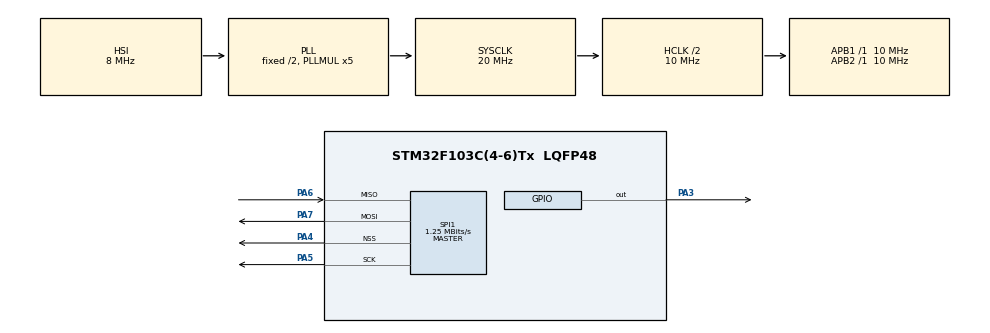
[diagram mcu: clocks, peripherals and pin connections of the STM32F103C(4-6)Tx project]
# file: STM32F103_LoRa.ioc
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Mcu.Family=STM32F1
Mcu.Name=STM32F103C(4-6)Tx
Mcu.Package=LQFP48
NVIC.PriorityGroup=NVIC_PRIORITYGROUP_4
PA3.Signal=GPIO_Output
PA4.Mode=NSS_Signal_Hard_Output
PA4.Signal=SPI1_NSS
PA5.Mode=Full_Duplex_Master
PA5.Signal=SPI1_SCK
PA6.Mode=Full_Duplex_Master
PA6.Signal=SPI1_MISO
PA7.Mode=Full_Duplex_Master
PA7.Signal=SPI1_MOSI
ProjectManager.HeapSize=0x200
ProjectManager.StackSize=0x400
ProjectManager.TargetToolchain=Makefile
RCC.AHBCLKDivider=RCC_SYSCLK_DIV2
RCC.AHBFreq_Value=10000000
RCC.APB1Freq_Value=10000000
RCC.APB1TimFreq_Value=10000000
RCC.APB2Freq_Value=10000000
RCC.APB2TimFreq_Value=10000000
RCC.HCLKFreq_Value=10000000
RCC.PLLMUL=RCC_PLL_MUL5
RCC.SYSCLKFreq_VALUE=20000000
RCC.SYSCLKSource=RCC_SYSCLKSOURCE_PLLCLK
RCC.USBFreq_Value=20000000
SPI1.BaudRatePrescaler=SPI_BAUDRATEPRESCALER_8
SPI1.CLKPolarity=SPI_POLARITY_LOW
SPI1.CalculateBaudRate=1.25 MBits/s
SPI1.Direction=SPI_DIRECTION_2LINES
SPI1.Mode=SPI_MODE_MASTER
SPI1.VirtualNSS=VM_NSSHARD
SPI1.VirtualType=VM_MASTER
VP_SYS_VS_ND.Mode=No_Debug
VP_TIM2_VS_ClockSourceINT.Mode=Internal
board=custom

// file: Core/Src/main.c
/* USER CODE BEGIN Header */
/**
  ******************************************************************************
  * @file           : main.c
  * @brief          : Main program body
  ******************************************************************************
  * @attention
  *
  * Copyright (c) 2023 STMicroelectronics.
  * All rights reserved.
  *
  * This software is licensed under terms that can be found in the LICENSE file
  * in the root directory of this software component.
  * If no LICENSE file comes with this software, it is provided AS-IS.
  *
  ******************************************************************************
  */
/* USER CODE END Header */
#include "main.h"
/* USER CODE BEGIN Includes */
#include "sx127x.h"
#include <stdint.h>
/* USER CODE END Includes */

/* USER CODE BEGIN PTD */
    // Распиновка
    /*
      PA3 --> NSS
      PA5 --> SCK
      PA6 --> MISO
      PA7 --> MOSI
    */
/* USER CODE END PTD */

SPI_HandleTypeDef hspi1;

TIM_HandleTypeDef htim2;

/* USER CODE BEGIN PV */
sx127x_cfg modem;
/* USER CODE END PV */

void SystemClock_Config(void);
static void MX_GPIO_Init(void);
static void MX_SPI1_Init(void);
static void MX_TIM2_Init(void);
void LoRa_Init(void);

int main(void)
{
    /* MCU Configuration--------------------------------------------------------*/
    /* Reset of all peripherals, Initializes the Flash interface and the Systick. */
    HAL_Init();
    /* Configure the system clock */
    SystemClock_Config();
    /* Initialize all configured peripherals */
    MX_GPIO_Init();
    MX_SPI1_Init();
    MX_TIM2_Init();
    HAL_GPIO_WritePin(GPIOA, GPIO_PIN_3, GPIO_PIN_SET);
    LoRa_Init();
    /* USER CODE BEGIN 2 *
    /* USER CODE END 2 */
    /* Infinite loop */
    /* USER CODE BEGIN WHILE */
    uint8_t data[2] = {0x13, 0x34};
    uint8_t receive_data[2];

    // init sx127x
    if (!sx127x_Init(&hspi1, &modem)){
        while(1);
        // logMessage --> SX127X не подключен
    }
    // logMessage --> SX127X подключен
    uint8_t status_TX = 0;
    while(1){
      /* USER CODE END WHILE */
      sx127x_Receive(&hspi1, &modem, receive_data, 2);
    //   HAL_Delay(5000);
    }
}

void SystemClock_Config(void)
{
  RCC_OscInitTypeDef RCC_OscInitStruct = {0};
  RCC_ClkInitTypeDef RCC_ClkInitStruct = {0};

  /** Initializes the RCC Oscillators according to the specified parameters
  * in the RCC_OscInitTypeDef structure.
  */
  RCC_OscInitStruct.OscillatorType = RCC_OSCILLATORTYPE_HSI;
  RCC_OscInitStruct.HSIState = RCC_HSI_ON;
  RCC_OscInitStruct.HSICalibrationValue = RCC_HSICALIBRATION_DEFAULT;
  RCC_OscInitStruct.PLL.PLLState = RCC_PLL_ON;
  RCC_OscInitStruct.PLL.PLLSource = RCC_PLLSOURCE_HSI_DIV2;
  RCC_OscInitStruct.PLL.PLLMUL = RCC_PLL_MUL5;
  if (HAL_RCC_OscConfig(&RCC_OscInitStruct) != HAL_OK)
  {
    Error_Handler();
  }

  /** Initializes the CPU, AHB and APB buses clocks
  */
  RCC_ClkInitStruct.ClockType = RCC_CLOCKTYPE_HCLK|RCC_CLOCKTYPE_SYSCLK
                              |RCC_CLOCKTYPE_PCLK1|RCC_CLOCKTYPE_PCLK2;
  RCC_ClkInitStruct.SYSCLKSource = RCC_SYSCLKSOURCE_PLLCLK;
  RCC_ClkInitStruct.AHBCLKDivider = RCC_SYSCLK_DIV2;
  RCC_ClkInitStruct.APB1CLKDivider = RCC_HCLK_DIV1;
  RCC_ClkInitStruct.APB2CLKDivider = RCC_HCLK_DIV1;

  if (HAL_RCC_ClockConfig(&RCC_ClkInitStruct, FLASH_LATENCY_0) != HAL_OK)
  {
    Error_Handler();
  }
}

static void MX_SPI1_Init(void)
{

  /* SPI1 parameter configuration*/
  hspi1.Instance = SPI1;
  hspi1.Init.Mode = SPI_MODE_MASTER;
  hspi1.Init.Direction = SPI_DIRECTION_2LINES;
  hspi1.Init.DataSize = SPI_DATASIZE_8BIT;
  hspi1.Init.CLKPolarity = SPI_POLARITY_LOW;
  hspi1.Init.CLKPhase = SPI_PHASE_1EDGE;
  hspi1.Init.NSS = SPI_NSS_HARD_OUTPUT;
  hspi1.Init.BaudRatePrescaler = SPI_BAUDRATEPRESCALER_8;
  hspi1.Init.FirstBit = SPI_FIRSTBIT_MSB;
  hspi1.Init.TIMode = SPI_TIMODE_DISABLE;
  hspi1.Init.CRCCalculation = SPI_CRCCALCULATION_DISABLE;
  hspi1.Init.CRCPolynomial = 10;
  if (HAL_SPI_Init(&hspi1) != HAL_OK)
  {
    Error_Handler();
  }

}

static void MX_TIM2_Init(void)
{

  TIM_ClockConfigTypeDef sClockSourceConfig = {0};
  TIM_MasterConfigTypeDef sMasterConfig = {0};

  htim2.Instance = TIM2;
  htim2.Init.Prescaler = 10;
  htim2.Init.CounterMode = TIM_COUNTERMODE_UP;
  htim2.Init.Period = 65535;
  htim2.Init.ClockDivision = TIM_CLOCKDIVISION_DIV1;
  htim2.Init.AutoReloadPreload = TIM_AUTORELOAD_PRELOAD_DISABLE;
  if (HAL_TIM_Base_Init(&htim2) != HAL_OK)
  {
    Error_Handler();
  }
  sClockSourceConfig.ClockSource = TIM_CLOCKSOURCE_INTERNAL;
  if (HAL_TIM_ConfigClockSource(&htim2, &sClockSourceConfig) != HAL_OK)
  {
    Error_Handler();
  }
  sMasterConfig.MasterOutputTrigger = TIM_TRGO_RESET;
  sMasterConfig.MasterSlaveMode = TIM_MASTERSLAVEMODE_DISABLE;
  if (HAL_TIMEx_MasterConfigSynchronization(&htim2, &sMasterConfig) != HAL_OK)
  {
    Error_Handler();
  }

}

static void MX_GPIO_Init(void)
{
  GPIO_InitTypeDef GPIO_InitStruct = {0};

  /* GPIO Ports Clock Enable */
  __HAL_RCC_GPIOA_CLK_ENABLE();

  /*Configure GPIO pin Output Level */
  HAL_GPIO_WritePin(GPIOA, GPIO_PIN_3, GPIO_PIN_RESET);

  /*Configure GPIO pin : PA3 */
  GPIO_InitStruct.Pin = GPIO_PIN_3;
  GPIO_InitStruct.Mode = GPIO_MODE_OUTPUT_PP;
  GPIO_InitStruct.Pull = GPIO_NOPULL;
  GPIO_InitStruct.Speed = GPIO_SPEED_FREQ_LOW;
  HAL_GPIO_Init(GPIOA, &GPIO_InitStruct);

}

/* USER CODE BEGIN 4 */
void LoRa_Init(){
    modem.RfFreq = 434000000;
    modem.Power = POWER_20db;
    modem.TX_Base_Address = 0;
    modem.RX_Base_Address = 0;
    modem.spredingFactor = SF7;
    modem.BandWidth = SX127X_BW_125;
    modem.crcRate = SX127X_CR_4_5;
    modem.LowDataRateOptimize = 0x00;
    modem.SyncWord = 0x34;
    modem.Preamble = 0x000C;
    modem.payloadLength = 2;
    modem.IrqStatus = 0;
    modem.bufferIndex = 0;
    modem.HeaderMode = SX127X_HEADER_EXPLICIT;
}
/* USER CODE END 4 */

void Error_Handler(void)
{
  __disable_irq();
  while (1)
  {
  }
}
